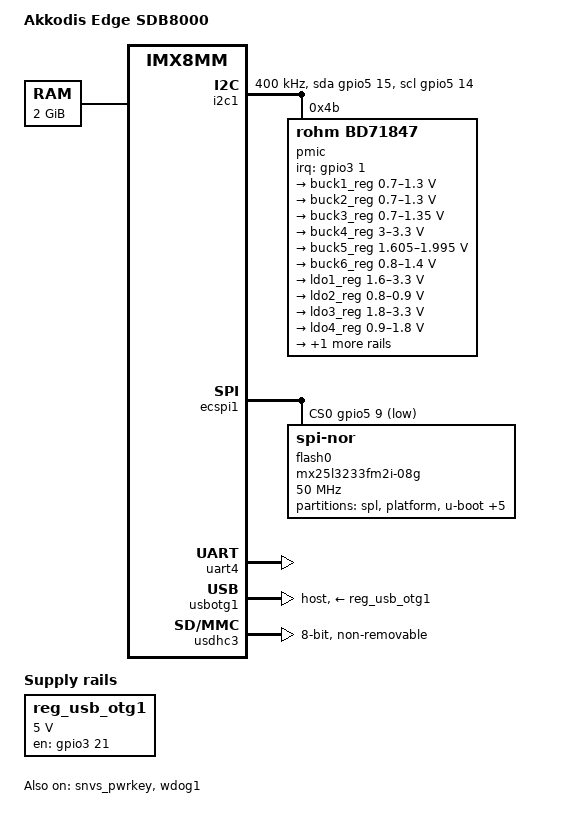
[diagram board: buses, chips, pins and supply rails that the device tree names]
// SPDX-License-Identifier: (GPL-2.0+ OR MIT)
/*
 * Copyright 2026 Akkodis Edge Sweden AB
 */

/dts-v1/;

#include <dt-bindings/usb/pd.h>
#include "imx8mm.dtsi"

/ {
	model = "Akkodis Edge SDB8000";
	compatible = "ake,sdb8000", "fsl,imx8mm";

	aliases {
		spi0 = &ecspi1;
	};

	chosen {
		stdout-path = &uart4;
	};

	memory@40000000 {
		device_type = "memory";
		reg = <0x0 0x40000000 0 0x80000000>;
	};

	reg_usb_otg1: regulator-usb-otg1 {
		compatible = "regulator-fixed";
		pinctrl-names = "default";
		pinctrl-0 = <&pinctrl_reg_usb_otg1>;
		regulator-name = "USB_OTG1_5V";
		regulator-min-microvolt = <5000000>;
		regulator-max-microvolt = <5000000>;
		gpio = <&gpio3 21 GPIO_ACTIVE_HIGH>;
		off-on-delay-us = <20000>;
		enable-active-high;
	};

	con_usb_otg1: dummy_usb_otg1_con {};
};

&A53_0 {
	cpu-supply = <&buck2_reg>;
};

&A53_1 {
	cpu-supply = <&buck2_reg>;
};

&A53_2 {
	cpu-supply = <&buck2_reg>;
};

&A53_3 {
	cpu-supply = <&buck2_reg>;
};

&ddrc {
	operating-points-v2 = <&ddrc_opp_table>;

	ddrc_opp_table: opp-table {
		compatible = "operating-points-v2";

		opp-25000000 {
			opp-hz = /bits/ 64 <25000000>;
		};

		opp-100000000 {
			opp-hz = /bits/ 64 <100000000>;
		};

		opp-750000000 {
			opp-hz = /bits/ 64 <750000000>;
		};
	};
};

&i2c1 {
	clock-frequency = <400000>;
	pinctrl-names = "default", "gpio";
	pinctrl-0 = <&pinctrl_i2c1>;
	pinctrl-1 = <&pinctrl_i2c1_gpio>;
	scl-gpios = <&gpio5 14 GPIO_ACTIVE_HIGH>;
	sda-gpios = <&gpio5 15 GPIO_ACTIVE_HIGH>;
	status = "okay";

	pmic@4b {
		compatible = "rohm,bd71847";
		reg = <0x4b>;
		pinctrl-names = "default";
		pinctrl-0 = <&pinctrl_pmic>;
		interrupt-parent = <&gpio3>;
		interrupts = <1 IRQ_TYPE_LEVEL_LOW>;
		rohm,reset-snvs-powered;

		#clock-cells = <0>;
		clocks = <&osc_32k>;
		clock-output-names = "clk-32k-out";

		regulators {
			buck1_reg: BUCK1 {
				regulator-name = "buck1";
				regulator-min-microvolt = <700000>;
				regulator-max-microvolt = <1300000>;
				regulator-boot-on;
				regulator-always-on;
				regulator-ramp-delay = <1250>;
			};

			buck2_reg: BUCK2 {
				regulator-name = "buck2";
				regulator-min-microvolt = <700000>;
				regulator-max-microvolt = <1300000>;
				regulator-boot-on;
				regulator-always-on;
				regulator-ramp-delay = <1250>;
				rohm,dvs-run-voltage = <1000000>;
				rohm,dvs-idle-voltage = <900000>;
			};

			buck3_reg: BUCK3 {
				// BUCK5 in datasheet
				regulator-name = "buck3";
				regulator-min-microvolt = <700000>;
				regulator-max-microvolt = <1350000>;
				regulator-boot-on;
				regulator-always-on;
			};

			buck4_reg: BUCK4 {
				// BUCK6 in datasheet
				regulator-name = "buck4";
				regulator-min-microvolt = <3000000>;
				regulator-max-microvolt = <3300000>;
				regulator-boot-on;
				regulator-always-on;
			};

			buck5_reg: BUCK5 {
				// BUCK7 in datasheet
				regulator-name = "buck5";
				regulator-min-microvolt = <1605000>;
				regulator-max-microvolt = <1995000>;
				regulator-boot-on;
				regulator-always-on;
			};

			buck6_reg: BUCK6 {
				// BUCK8 in datasheet
				regulator-name = "buck6";
				regulator-min-microvolt = <800000>;
				regulator-max-microvolt = <1400000>;
				regulator-boot-on;
				regulator-always-on;
			};

			ldo1_reg: LDO1 {
				regulator-name = "ldo1";
				regulator-min-microvolt = <1600000>;
				regulator-max-microvolt = <3300000>;
				regulator-boot-on;
				regulator-always-on;
			};

			ldo2_reg: LDO2 {
				regulator-name = "ldo2";
				regulator-min-microvolt = <800000>;
				regulator-max-microvolt = <900000>;
				regulator-boot-on;
				regulator-always-on;
			};

			ldo3_reg: LDO3 {
				regulator-name = "ldo3";
				regulator-min-microvolt = <1800000>;
				regulator-max-microvolt = <3300000>;
				regulator-boot-on;
				regulator-always-on;
			};

			ldo4_reg: LDO4 {
				regulator-name = "ldo4";
				regulator-min-microvolt = <900000>;
				regulator-max-microvolt = <1800000>;
				regulator-boot-on;
				regulator-always-on;
			};

			ldo6_reg: LDO6 {
				regulator-name = "ldo6";
				regulator-min-microvolt = <900000>;
				regulator-max-microvolt = <1800000>;
				regulator-boot-on;
				regulator-always-on;
			};
		};
	};
};

&ecspi1 {
	cs-gpios = <&gpio5 9 GPIO_ACTIVE_LOW>;
	pinctrl-names = "default";
	pinctrl-0 = <&pinctrl_ecspi1>;
	status = "okay";

	flash0: mx25l3233fm2i-08g@0 {
		reg = <0>;
		#address-cells = <1>;
		#size-cells = <1>;
		compatible = "jedec,spi-nor";
		spi-max-frequency = <50000000>;

		partitions {
			compatible = "fixed-partitions";
			#address-cells = <1>;
			#size-cells = <1>;

			spl@0 {
				label = "spl";
				reg = <0x000000 0x040000>;
			};

			platform@40000 {
				label = "platform";
				reg = <0x040000 0x010000>;
				read-only;
			};

			u-boot@50000 {
				label = "u-boot";
				reg = <0x050000 0x1A0000>;
			};

			u-boot-second@1F0000 {
				label = "u-boot-second";
				reg = <0x1F0000 0x1A0000>;
			};

			system_a@390000 {
				label = "system_a";
				reg = <0x390000 0x010000>;
			};

			system_b@3A0000 {
				label = "system_b";
				reg = <0x3A0000 0x010000>;
			};

			user_a@3B0000 {
				label = "user_a";
				reg = <0x3B0000 0x010000>;
			};

			user_b@3C0000 {
				label = "user_b";
				reg = <0x3C0000 0x010000>;
			};
		};
	};
};

&snvs_pwrkey {
	status = "okay";
};

&uart4 { /* console */
	pinctrl-names = "default";
	pinctrl-0 = <&pinctrl_uart4>;
	status = "okay";
};

&usbphynop1 {
	wakeup-source;
};

&usbotg1 {
	dr_mode = "host";
	vbus-supply = <&reg_usb_otg1>;
	extcon = <&con_usb_otg1>;
	hnp-disable;
	srp-disable;
	adp-disable;
	usb-role-switch;
	disable-over-current;
	//samsung,picophy-pre-emp-curr-control = <3>;
	//samsung,picophy-dc-vol-level-adjust = <7>;
	status = "okay";

	/*port {
		usb1_drd_sw: endpoint {
			remote-endpoint = <&con_usb_otg1>;
		};
	};*/
};

&wdog1 {
	pinctrl-names = "default";
	pinctrl-0 = <&pinctrl_wdog>;
	fsl,ext-reset-output;
	status = "okay";
};

&usdhc3 {
	assigned-clocks = <&clk IMX8MM_CLK_USDHC3_ROOT>;
	assigned-clock-rates = <400000000>;
	pinctrl-names = "default", "state_100mhz", "state_200mhz";
	pinctrl-0 = <&pinctrl_usdhc3>;
	pinctrl-1 = <&pinctrl_usdhc3_100mhz>;
	pinctrl-2 = <&pinctrl_usdhc3_200mhz>;
	bus-width = <8>;
	non-removable;
	status = "okay";
};

&iomuxc {
	pinctrl_reg_usb_otg1: usbotg1grp {
		fsl,pins = <
			MX8MM_IOMUXC_SAI5_RXD0_GPIO3_IO21	0x41
		>;
	};

	pinctrl_pmic: pmicirq {
		fsl,pins = <
			MX8MM_IOMUXC_NAND_CE0_B_GPIO3_IO1		0x41
		>;
	};

	pinctrl_uart4: uart4grp {
		fsl,pins = <
			MX8MM_IOMUXC_UART4_RXD_UART4_DCE_RX	0x140
			MX8MM_IOMUXC_UART4_TXD_UART4_DCE_TX	0x140
		>;
	};

	pinctrl_wdog: wdoggrp {
		fsl,pins = <
			MX8MM_IOMUXC_GPIO1_IO02_WDOG1_WDOG_B	0xc6
		>;
	};

	pinctrl_i2c1: i2c1grp {
		fsl,pins = <
			MX8MM_IOMUXC_I2C1_SCL_I2C1_SCL			0x40000083
			MX8MM_IOMUXC_I2C1_SDA_I2C1_SDA			0x40000083
		>;
	};

	pinctrl_i2c1_gpio: i2c1grp-gpio {
		fsl,pins = <
			MX8MM_IOMUXC_I2C1_SCL_GPIO5_IO14		0x83
			MX8MM_IOMUXC_I2C1_SDA_GPIO5_IO15		0x83
		>;
	};

	pinctrl_ecspi1: ecspi1grp {
		fsl,pins = <
			MX8MM_IOMUXC_ECSPI1_SCLK_ECSPI1_SCLK	0x94
			MX8MM_IOMUXC_ECSPI1_MISO_ECSPI1_MISO	0x94
			MX8MM_IOMUXC_ECSPI1_MOSI_ECSPI1_MOSI	0x94
			MX8MM_IOMUXC_ECSPI1_SS0_GPIO5_IO9		0x41 /* ECSPI1_SS0 */
			MX8MM_IOMUXC_GPIO1_IO15_GPIO1_IO15		0x61 /* WP_Flash */
		>;
	};

	pinctrl_usdhc3: usdhc3grp {
		fsl,pins = <
			MX8MM_IOMUXC_NAND_WE_B_USDHC3_CLK		0x190
			MX8MM_IOMUXC_NAND_WP_B_USDHC3_CMD		0x1d0
			MX8MM_IOMUXC_NAND_DATA04_USDHC3_DATA0	0x1d0
			MX8MM_IOMUXC_NAND_DATA05_USDHC3_DATA1	0x1d0
			MX8MM_IOMUXC_NAND_DATA06_USDHC3_DATA2	0x1d0
			MX8MM_IOMUXC_NAND_DATA07_USDHC3_DATA3	0x1d0
			MX8MM_IOMUXC_NAND_RE_B_USDHC3_DATA4		0x1d0
			MX8MM_IOMUXC_NAND_CE2_B_USDHC3_DATA5	0x1d0
			MX8MM_IOMUXC_NAND_CE3_B_USDHC3_DATA6	0x1d0
			MX8MM_IOMUXC_NAND_CLE_USDHC3_DATA7		0x1d0
			MX8MM_IOMUXC_NAND_CE1_B_USDHC3_STROBE	0x190
		>;
	};

	pinctrl_usdhc3_100mhz: usdhc3grp100mhz {
		fsl,pins = <
			MX8MM_IOMUXC_NAND_WE_B_USDHC3_CLK		0x194
			MX8MM_IOMUXC_NAND_WP_B_USDHC3_CMD		0x1d4
			MX8MM_IOMUXC_NAND_DATA04_USDHC3_DATA0	0x1d4
			MX8MM_IOMUXC_NAND_DATA05_USDHC3_DATA1	0x1d4
			MX8MM_IOMUXC_NAND_DATA06_USDHC3_DATA2	0x1d4
			MX8MM_IOMUXC_NAND_DATA07_USDHC3_DATA3	0x1d4
			MX8MM_IOMUXC_NAND_RE_B_USDHC3_DATA4		0x1d4
			MX8MM_IOMUXC_NAND_CE2_B_USDHC3_DATA5	0x1d4
			MX8MM_IOMUXC_NAND_CE3_B_USDHC3_DATA6	0x1d4
			MX8MM_IOMUXC_NAND_CLE_USDHC3_DATA7		0x1d4
			MX8MM_IOMUXC_NAND_CE1_B_USDHC3_STROBE	0x194
		>;
	};

	pinctrl_usdhc3_200mhz: usdhc3grp200mhz {
		fsl,pins = <
			MX8MM_IOMUXC_NAND_WE_B_USDHC3_CLK		0x196
			MX8MM_IOMUXC_NAND_WP_B_USDHC3_CMD		0x1d6
			MX8MM_IOMUXC_NAND_DATA04_USDHC3_DATA0	0x1d6
			MX8MM_IOMUXC_NAND_DATA05_USDHC3_DATA1	0x1d6
			MX8MM_IOMUXC_NAND_DATA06_USDHC3_DATA2	0x1d6
			MX8MM_IOMUXC_NAND_DATA07_USDHC3_DATA3	0x1d6
			MX8MM_IOMUXC_NAND_RE_B_USDHC3_DATA4		0x1d6
			MX8MM_IOMUXC_NAND_CE2_B_USDHC3_DATA5	0x1d6
			MX8MM_IOMUXC_NAND_CE3_B_USDHC3_DATA6	0x1d6
			MX8MM_IOMUXC_NAND_CLE_USDHC3_DATA7		0x1d6
			MX8MM_IOMUXC_NAND_CE1_B_USDHC3_STROBE	0x196
		>;
	};
};
